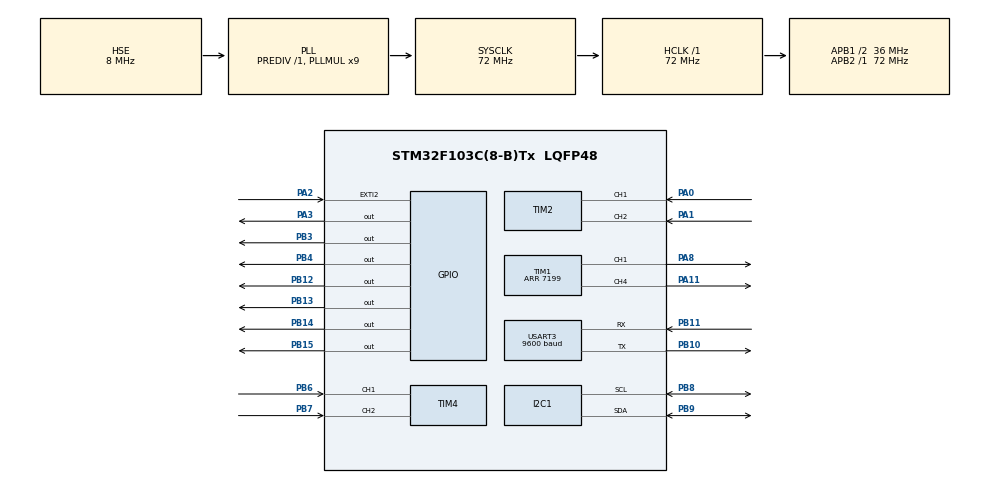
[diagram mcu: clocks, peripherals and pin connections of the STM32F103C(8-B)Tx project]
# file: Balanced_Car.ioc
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Mcu.Family=STM32F1
Mcu.Name=STM32F103C(8-B)Tx
Mcu.Package=LQFP48
NVIC.EXTI2_IRQn=true\:0\:0\:false\:false\:true\:true\:true\:true
NVIC.PriorityGroup=NVIC_PRIORITYGROUP_4
NVIC.USART3_IRQn=true\:0\:0\:false\:false\:true\:true\:true\:true
PA0-WKUP.Signal=S_TIM2_CH1_ETR
PA1.Signal=S_TIM2_CH2
PA11.Signal=S_TIM1_CH4
PA13.Mode=Serial_Wire
PA13.Signal=SYS_JTMS-SWDIO
PA14.Mode=Serial_Wire
PA14.Signal=SYS_JTCK-SWCLK
PA2.GPIO_ModeDefaultEXTI=GPIO_MODE_IT_RISING_FALLING
PA2.Signal=GPXTI2
PA3.GPIO_Speed=GPIO_SPEED_FREQ_HIGH
PA3.Signal=GPIO_Output
PA8.Signal=S_TIM1_CH1
PB10.Mode=Asynchronous
PB10.Signal=USART3_TX
PB11.Mode=Asynchronous
PB11.Signal=USART3_RX
PB12.Signal=GPIO_Output
PB13.Signal=GPIO_Output
PB14.Signal=GPIO_Output
PB15.Signal=GPIO_Output
PB3.Signal=GPIO_Output
PB4.Signal=GPIO_Output
PB6.Signal=S_TIM4_CH1
PB7.Signal=S_TIM4_CH2
PB8.Mode=I2C
PB8.Signal=I2C1_SCL
PB9.Mode=I2C
PB9.Signal=I2C1_SDA
PC14-OSC32_IN.Mode=LSE-External-Oscillator
PC14-OSC32_IN.Signal=RCC_OSC32_IN
PC15-OSC32_OUT.Mode=LSE-External-Oscillator
PC15-OSC32_OUT.Signal=RCC_OSC32_OUT
PD0-OSC_IN.Mode=HSE-External-Oscillator
PD0-OSC_IN.Signal=RCC_OSC_IN
PD1-OSC_OUT.Mode=HSE-External-Oscillator
PD1-OSC_OUT.Signal=RCC_OSC_OUT
ProjectManager.HeapSize=0x200
ProjectManager.StackSize=0x400
ProjectManager.TargetToolchain=CMake
RCC.AHBFreq_Value=72000000
RCC.APB1CLKDivider=RCC_HCLK_DIV2
RCC.APB1Freq_Value=36000000
RCC.APB1TimFreq_Value=72000000
RCC.APB2Freq_Value=72000000
RCC.APB2TimFreq_Value=72000000
RCC.HCLKFreq_Value=72000000
RCC.PLLMUL=RCC_PLL_MUL9
RCC.PLLSourceVirtual=RCC_PLLSOURCE_HSE
RCC.SYSCLKFreq_VALUE=72000000
RCC.SYSCLKSource=RCC_SYSCLKSOURCE_PLLCLK
RCC.USBFreq_Value=72000000
SH.S_TIM1_CH1.0=TIM1_CH1,PWM Generation1 CH1
SH.S_TIM1_CH4.0=TIM1_CH4,PWM Generation4 CH4
SH.S_TIM2_CH1_ETR.0=TIM2_CH1,Encoder_Interface
SH.S_TIM2_CH2.0=TIM2_CH2,Encoder_Interface
SH.S_TIM4_CH1.0=TIM4_CH1,Encoder_Interface
SH.S_TIM4_CH2.0=TIM4_CH2,Encoder_Interface
TIM1.Channel-PWM\ Generation1\ CH1=TIM_CHANNEL_1
TIM1.Channel-PWM\ Generation4\ CH4=TIM_CHANNEL_4
TIM1.Period=7199
TIM1.Pulse-PWM\ Generation1\ CH1=7200
TIM1.Pulse-PWM\ Generation4\ CH4=7200
TIM2.EncoderMode=TIM_ENCODERMODE_TI12
TIM3.Prescaler=71
TIM4.EncoderMode=TIM_ENCODERMODE_TI12
USART3.BaudRate=9600
USART3.VirtualMode=VM_ASYNC
VP_TIM3_VS_ClockSourceINT.Mode=Internal
board=custom

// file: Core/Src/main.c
/* USER CODE BEGIN Header */
/**
  ******************************************************************************
  * @file           : main.c
  * @brief          : Main program body
  ******************************************************************************
  * @attention
  *
  * Copyright (c) 2026 STMicroelectronics.
  * All rights reserved.
  *
  * This software is licensed under terms that can be found in the LICENSE file
  * in the root directory of this software component.
  * If no LICENSE file comes with this software, it is provided AS-IS.
  *
  ******************************************************************************
  */
/* USER CODE END Header */
#include "main.h"
#include "i2c.h"
#include "stm32f1xx_hal_uart.h"
#include "tim.h"
#include "usart.h"
#include "gpio.h"

/* USER CODE BEGIN Includes */
#include "oled.h"
#include "IIC.h"
#include "inv_mpu.h"
#include "inv_mpu_dmp_motion_driver.h"
#include "mpu6050.h"
#include "stm32f1xx_hal.h"
#include "stdio.h"
#include "SR04.h"
#include "Motor.h"
#include "Encoder.h"
/* USER CODE END Includes */

/* USER CODE BEGIN PV */
int Encoder_Left, Encoder_Right;
float pitch, roll, yaw;
uint8_t display_buff[20];//缓存区，存储要显示的字符�?
extern float distance;
uint32_t Sys_tick;
extern uint8_t rx_buf[2];
/* USER CODE END PV */

void SystemClock_Config(void);

int main(void)
{

  /* MCU Configuration--------------------------------------------------------*/

  /* Reset of all peripherals, Initializes the Flash interface and the Systick. */
  HAL_Init();

  /* Configure the system clock */
  SystemClock_Config();

  /* Initialize all configured peripherals */
  MX_GPIO_Init();
  MX_I2C1_Init();
  MX_TIM3_Init();
  MX_TIM1_Init();
  MX_TIM2_Init();
  MX_TIM4_Init();
  MX_USART3_UART_Init();
  /* USER CODE BEGIN 2 */
  OLED_Init();
  OLED_Clear();
  mpu_init();
  mpu_dmp_init();
  OLED_ShowString(0,0,(uint8_t *)"Init Success",16);
  HAL_TIM_PWM_Start(&htim1, TIM_CHANNEL_1);
  HAL_TIM_PWM_Start(&htim1, TIM_CHANNEL_4);
  HAL_TIM_Encoder_Start(&htim2, TIM_CHANNEL_ALL);
  HAL_TIM_Encoder_Start(&htim4, TIM_CHANNEL_ALL);
  HAL_UART_Receive_IT(&huart3, rx_buf, 1);
  Load(3000, 3000);//2000/7200=27.8%占空比，电机转?约为满??(330)??27.8%
  HAL_UART_Transmit(&huart3, (const uint8_t *)"Init Success\r\n", 14, 1000);
  /* USER CODE END 2 */

  /* Infinite loop */
  /* USER CODE BEGIN WHILE */
  while (1)
  {
    Read(); //读取编码器数据，更新全局变量Encoder_Left和Encoder_Right
    // sprintf((char *)display_buff,"Encoder_Left:%d",Encoder_Left);
    // OLED_ShowString(0,2,(uint8_t *)display_buff,16);
    // sprintf((char *)display_buff,"Encoder_Right:%d",Encoder_Right);
    // OLED_ShowString(0,4,(uint8_t *)display_buff,16);
    // HAL_Delay(100);
    mpu_dmp_get_data(&pitch, &roll, &yaw);
    sprintf((char *)display_buff,"Roll:%.2f",roll);
    OLED_ShowString(0,2,(uint8_t *)display_buff,16);
    HAL_UART_Transmit(&huart3, (const uint8_t *)display_buff, sizeof(display_buff), 1000);
    // Get_Distance();
    // sprintf((char *)display_buff,"Distance:%.2f",distance);
    // OLED_ShowString(0,4,(uint8_t *)display_buff,12);

    /* USER CODE END WHILE */

  }
}

void SystemClock_Config(void)
{
  RCC_OscInitTypeDef RCC_OscInitStruct = {0};
  RCC_ClkInitTypeDef RCC_ClkInitStruct = {0};

  /** Initializes the RCC Oscillators according to the specified parameters
  * in the RCC_OscInitTypeDef structure.
  */
  RCC_OscInitStruct.OscillatorType = RCC_OSCILLATORTYPE_HSE;
  RCC_OscInitStruct.HSEState = RCC_HSE_ON;
  RCC_OscInitStruct.HSEPredivValue = RCC_HSE_PREDIV_DIV1;
  RCC_OscInitStruct.HSIState = RCC_HSI_ON;
  RCC_OscInitStruct.PLL.PLLState = RCC_PLL_ON;
  RCC_OscInitStruct.PLL.PLLSource = RCC_PLLSOURCE_HSE;
  RCC_OscInitStruct.PLL.PLLMUL = RCC_PLL_MUL9;
  if (HAL_RCC_OscConfig(&RCC_OscInitStruct) != HAL_OK)
  {
    Error_Handler();
  }

  /** Initializes the CPU, AHB and APB buses clocks
  */
  RCC_ClkInitStruct.ClockType = RCC_CLOCKTYPE_HCLK|RCC_CLOCKTYPE_SYSCLK
                              |RCC_CLOCKTYPE_PCLK1|RCC_CLOCKTYPE_PCLK2;
  RCC_ClkInitStruct.SYSCLKSource = RCC_SYSCLKSOURCE_PLLCLK;
  RCC_ClkInitStruct.AHBCLKDivider = RCC_SYSCLK_DIV1;
  RCC_ClkInitStruct.APB1CLKDivider = RCC_HCLK_DIV2;
  RCC_ClkInitStruct.APB2CLKDivider = RCC_HCLK_DIV1;

  if (HAL_RCC_ClockConfig(&RCC_ClkInitStruct, FLASH_LATENCY_2) != HAL_OK)
  {
    Error_Handler();
  }
}

/* USER CODE BEGIN 4 */
//非阻塞式�? 10ms 调度函数
void Read(void)//�?10ms读取�?次编码器的�?�，更新全局变量Encoder_Left和Encoder_Right
{
  if(uwTick - Sys_tick <10)
    return;
  Sys_tick = uwTick;

  Encoder_Left = -Read_Speed(&htim2);//左轮的编码器安装方向和右轮相反，�?以读数要取负�?
  Encoder_Right = Read_Speed(&htim4);//右轮的编码器安装方向和左轮相�?
}

/* USER CODE END 4 */

void Error_Handler(void)
{
  __disable_irq();
  while (1)
  {
  }
}
